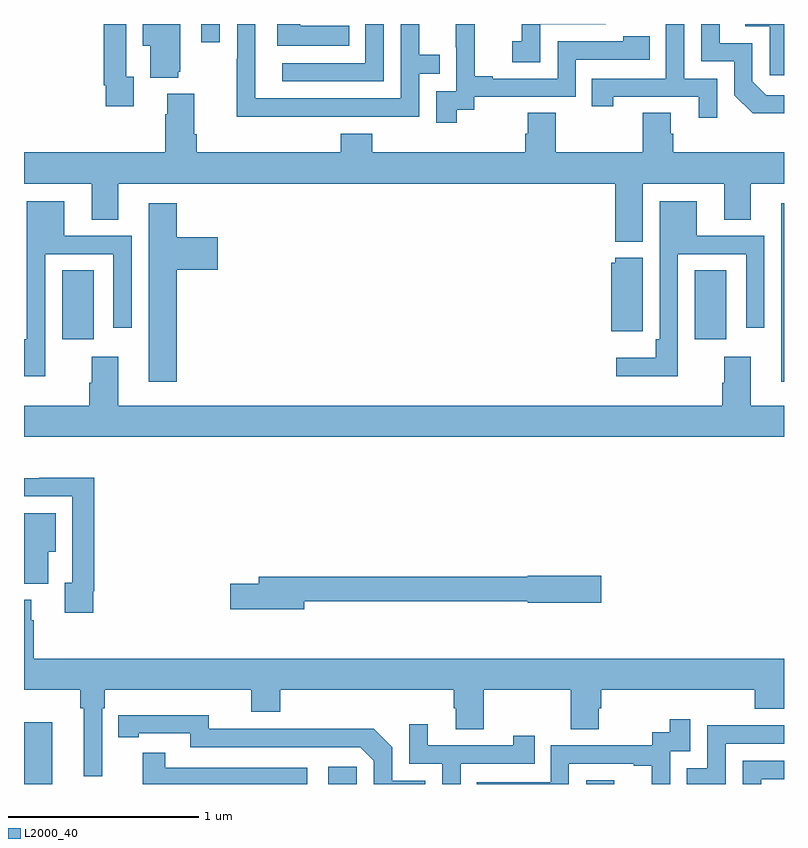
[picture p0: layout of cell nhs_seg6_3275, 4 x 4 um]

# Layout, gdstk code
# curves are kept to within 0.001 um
import gdstk
lib = gdstk.Library(unit=1e-6, precision=1e-09)
def R(c, l, rs):  # rectangles x0, y0, x1, y1
    for r in rs: c.add(gdstk.rectangle(r[:2], r[2:], *l))
def P(c, l, *ps):  # polygons
    for p in ps: c.add(gdstk.Polygon(p, *l))
L2000_40 = (2000, 40)

nhs_seg6_3275 = lib.new_cell('nhs_seg6_3275')
R(nhs_seg6_3275, L2000_40, [(303,953.5,303.148,953.824), (304.602,953.5,304.752,953.59), (305.958,953.5,306.106,953.521), (306.986,955.617,307,956.557), (303.2,955.842,303.367,956.204), (306.53,955.842,306.697,956.204), (303.933,957.405,304.029,957.5)])
P(nhs_seg6_3275, L2000_40, [(307,957.126),(306.906,957.126),(306.834,957.198),(306.834,957.399),(306.661,957.399),(306.661,957.5),(306.564,957.5),(306.564,957.303),(306.738,957.303),(306.738,957.126),(306.836,957.029),(307,957.029)],
  [(303.812,957.249),(303.823,957.249),(303.823,957.5),(303.626,957.5),(303.626,957.386),(303.665,957.386),(303.665,957.218),(303.812,957.218)],
  [(303.577,957.222),(303.537,957.222),(303.537,957.5),(303.421,957.5),(303.421,957.178),(303.429,957.178),(303.429,957.066),(303.577,957.066)],
  [(305.718,957.498),(306.06,957.498),(306.062,957.5),(305.62,957.5),(305.62,957.409),(305.571,957.409),(305.571,957.3),(305.718,957.3)],
  [(306.648,957.213),(306.474,957.213),(306.474,957.5),(306.378,957.5),(306.378,957.213),(305.989,957.213),(305.989,957.066),(306.1,957.066),(306.1,957.117),(306.551,957.117),(306.551,957.006),(306.648,957.006)],
  [(304.583,957.012),(305.079,957.012),(305.079,957.237),(305.189,957.237),(305.189,957.338),(305.079,957.338),(305.079,957.5),(304.983,957.5),(304.983,957.108),(304.218,957.108),(304.218,957.5),(304.122,957.5),(304.122,957.317),(304.12,957.317),(304.12,957.011),(304.583,957.011)],
  [(307,957.5),(306.795,957.5),(306.795,957.489),(306.924,957.489),(306.924,957.231),(307,957.231)],
  [(305.278,957.049),(305.37,957.049),(305.37,957.117),(305.904,957.117),(305.904,957.312),(306.293,957.312),(306.293,957.435),(306.153,957.435),(306.153,957.408),(305.808,957.408),(305.808,957.213),(305.467,957.213),(305.467,957.226),(305.372,957.226),(305.372,957.5),(305.273,957.5),(305.273,957.377),(305.274,957.377),(305.274,957.147),(305.169,957.147),(305.169,956.979),(305.278,956.979)],
  [(304.712,957.49),(304.455,957.49),(304.455,957.5),(304.334,957.5),(304.334,957.386),(304.712,957.386)],
  [(304.893,957.5),(304.797,957.5),(304.797,957.294),(304.359,957.294),(304.359,957.198),(304.893,957.198)],
  [(306.256,956.66),(306.686,956.66),(306.686,956.47),(306.826,956.47),(306.826,956.66),(307,956.66),(307,956.824),(306.416,956.824),(306.416,956.922),(306.403,956.922),(306.403,957.032),(306.256,957.032),(306.256,956.824),(305.799,956.824),(305.799,957.032),(305.651,957.032),(305.651,956.922),(305.639,956.922),(305.639,956.824),(304.832,956.824),(304.832,956.923),(304.667,956.923),(304.667,956.824),(303.908,956.824),(303.908,956.92),(303.895,956.92),(303.895,957.133),(303.755,957.133),(303.755,957.026),(303.743,957.026),(303.743,956.824),(303,956.824),(303,956.66),(303.356,956.66),(303.356,956.47),(303.496,956.47),(303.496,956.66),(306.113,956.66),(306.113,956.354),(306.256,956.354)],
  [(303.111,956.289),(303.471,956.289),(303.471,955.902),(303.567,955.902),(303.567,956.385),(303.211,956.385),(303.211,956.566),(303.015,956.566),(303.015,955.84),(303,955.84),(303,955.646),(303.111,955.646)],
  [(306.441,956.289),(306.801,956.289),(306.801,955.902),(306.897,955.902),(306.897,956.385),(306.541,956.385),(306.541,956.566),(306.345,956.566),(306.345,955.84),(306.325,955.84),(306.325,955.744),(306.117,955.744),(306.117,955.646),(306.441,955.646)],
  [(303.803,956.207),(304.021,956.207),(304.021,956.377),(303.803,956.377),(303.803,956.557),(303.656,956.557),(303.656,955.617),(303.803,955.617)],
  [(306.256,956.269),(306.111,956.269),(306.111,956.244),(306.092,956.244),(306.092,955.883),(306.256,955.883)],
  [(307,955.492),(306.826,955.492),(306.826,955.75),(306.686,955.75),(306.686,955.613),(306.674,955.613),(306.674,955.492),(303.496,955.492),(303.496,955.75),(303.356,955.75),(303.356,955.613),(303.344,955.613),(303.344,955.492),(303,955.492),(303,955.328),(307,955.328)],
  [(303.364,954.514),(303.371,954.514),(303.371,955.112),(303.079,955.112),(303.079,955.11),(303,955.11),(303,955.014),(303.255,955.014),(303.255,954.558),(303.215,954.558),(303.215,954.402),(303.364,954.402)],
  [(303.127,954.722),(303.166,954.722),(303.166,954.925),(303,954.925),(303,954.554),(303.127,954.554)],
  [(304.474,954.462),(305.652,954.462),(305.652,954.454),(306.037,954.454),(306.037,954.596),(305.652,954.596),(305.652,954.59),(304.235,954.59),(304.235,954.554),(304.086,954.554),(304.086,954.419),(304.474,954.419)],
  [(303.411,953.9),(303.425,953.9),(303.425,953.996),(304.196,953.996),(304.196,953.879),(304.349,953.879),(304.349,953.996),(305.261,953.996),(305.261,953.898),(305.273,953.898),(305.273,953.788),(305.421,953.788),(305.421,953.996),(305.878,953.996),(305.878,953.788),(306.025,953.788),(306.025,953.898),(306.038,953.898),(306.038,953.996),(306.845,953.996),(306.845,953.897),(307,953.897),(307,954.16),(303.05,954.16),(303.05,954.362),(303.037,954.362),(303.037,954.469),(303,954.469),(303,953.996),(303.295,953.996),(303.295,953.9),(303.314,953.9),(303.314,953.541),(303.411,953.541)],
  [(305.112,953.517),(304.938,953.517),(304.938,953.694),(304.84,953.792),(304.432,953.792),(304.432,953.79),(303.972,953.79),(303.972,953.863),(303.496,953.862),(303.496,953.746),(303.604,953.746),(303.604,953.766),(303.876,953.766),(303.876,953.694),(304.77,953.694),(304.842,953.622),(304.842,953.5),(305.112,953.5)],
  [(305.868,953.607),(306.209,953.607),(306.209,953.595),(306.305,953.595),(306.305,953.5),(306.402,953.5),(306.402,953.673),(306.507,953.673),(306.507,953.842),(306.399,953.842),(306.399,953.772),(306.306,953.772),(306.306,953.703),(305.772,953.703),(305.772,953.508),(305.383,953.508),(305.383,953.5),(305.868,953.5)],
  [(305.298,953.607),(305.687,953.607),(305.687,953.755),(305.576,953.755),(305.576,953.703),(305.125,953.703),(305.125,953.815),(305.028,953.815),(305.028,953.607),(305.202,953.607),(305.202,953.5),(305.298,953.5)],
  [(306.693,953.712),(307,953.712),(307,953.808),(306.597,953.808),(306.597,953.583),(306.487,953.583),(306.487,953.5),(306.693,953.5)],
  [(304.492,953.586),(303.743,953.586),(303.743,953.665),(303.626,953.665),(303.626,953.5),(304.492,953.5)],
  [(306.879,953.526),(307,953.526),(307,953.622),(306.783,953.622),(306.783,953.5),(306.879,953.5)])

lib.write_gds('nhs_seg6_3275.gds')
